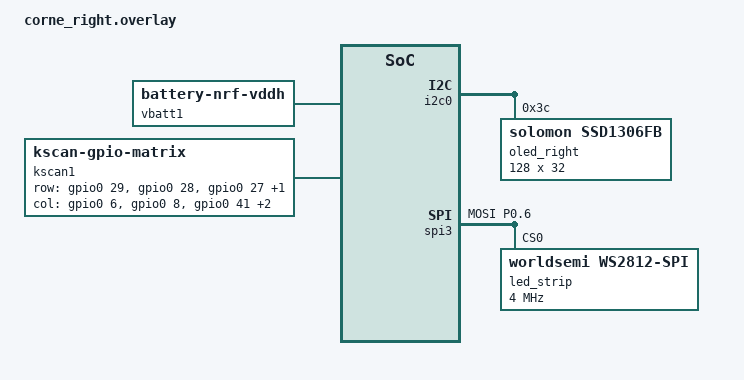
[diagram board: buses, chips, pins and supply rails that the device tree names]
#include <dt-bindings/led/led.h>

/ {
    soft_off: soft_off {
        compatible = "zmk,soft-off";
        hold-time-ms = <3000>;
    };

    vbatt1: vbatt {
        compatible = "zmk,battery-nrf-vddh";
    };

    kscan1: kscan {
        compatible = "zmk,kscan-gpio-matrix";

        row-gpios =
            <&gpio0 29 (GPIO_ACTIVE_HIGH | GPIO_PULL_DOWN)>,
            <&gpio0 28 (GPIO_ACTIVE_HIGH | GPIO_PULL_DOWN)>,
            <&gpio0 27 (GPIO_ACTIVE_HIGH | GPIO_PULL_DOWN)>,
            <&gpio0 26 (GPIO_ACTIVE_HIGH | GPIO_PULL_DOWN)>;

        col-gpios =
            <&gpio0 6  GPIO_ACTIVE_HIGH>,
            <&gpio0 8  GPIO_ACTIVE_HIGH>,
            <&gpio0 41 GPIO_ACTIVE_HIGH>,
            <&gpio0 30 GPIO_ACTIVE_HIGH>,
            <&gpio0 45 GPIO_ACTIVE_HIGH>;

        diode-direction = "col2row";
        wakeup-source;
    };

    chosen {
        zmk,battery = &vbatt1;
        zmk,underglow = &led_strip;
        zephyr,display = &oled_right;
    };
};

/* 128x32 SSD1306 display on I2C0 @ 0x3c */
&i2c0 {
    status = "okay";

    oled_right: ssd1306@3c {
        compatible = "solomon,ssd1306fb";
        reg = <0x3c>;
        width = <128>;
        height = <32>;
        segment-offset = <0>;
        page-offset = <0>;
        display-offset = <0>;
        multiplex-ratio = <31>;
        segment-remap;
        com-invdir;
        prechargep = <0x22>;
    };
};

/*
 * SPI3 + WS2812 LED strip.
 * Data pin: Nice!Nano v2 P0.06 (Pro Micro D1/MOSI).
 * chain-length: 18 per-key + 6 underglow = 24 total per half.
 */
&pinctrl {
    spi3_default: spi3_default {
        group1 {
            psels = <NRF_PSEL(SPIM_MOSI, 0, 6)>;
        };
    };

    spi3_sleep: spi3_sleep {
        group1 {
            psels = <NRF_PSEL(SPIM_MOSI, 0, 6)>;
            low-power-enable;
        };
    };
};

&spi3 {
    compatible = "nordic,nrf-spim";
    status = "okay";
    pinctrl-0 = <&spi3_default>;
    pinctrl-1 = <&spi3_sleep>;
    pinctrl-names = "default", "sleep";

    led_strip: ws2812@0 {
        compatible = "worldsemi,ws2812-spi";
        reg = <0>;
        spi-max-frequency = <4000000>;
        chain-length = <24>;
        spi-one-frame = <0x70>;
        spi-zero-frame = <0x40>;
        color-mapping =
            <LED_COLOR_ID_GREEN
             LED_COLOR_ID_RED
             LED_COLOR_ID_BLUE>;
    };
};
